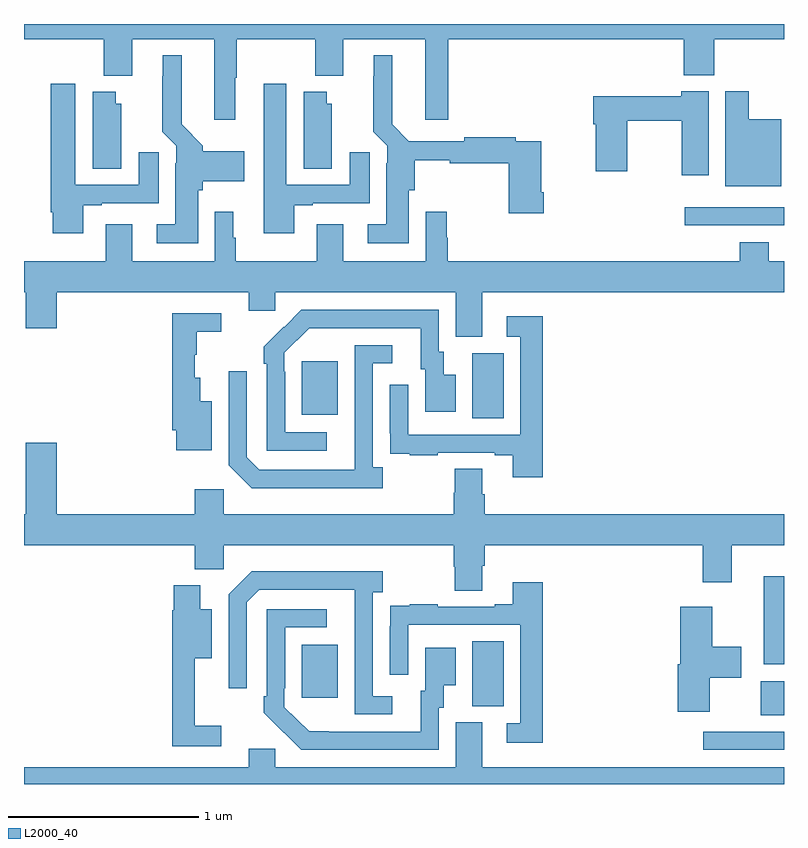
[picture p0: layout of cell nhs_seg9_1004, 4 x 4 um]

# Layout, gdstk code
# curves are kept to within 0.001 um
import gdstk
lib = gdstk.Library(unit=1e-6, precision=1e-09)
def R(c, l, rs):  # rectangles x0, y0, x1, y1
    for r in rs: c.add(gdstk.rectangle(r[:2], r[2:], *l))
def P(c, l, *ps):  # polygons
    for p in ps: c.add(gdstk.Polygon(p, *l))
L2000_40 = (2000, 40)

nhs_seg9_1004 = lib.new_cell('nhs_seg9_1004')
R(nhs_seg9_1004, L2000_40, [(168.576,1192.68,169,1192.776), (168.878,1192.861,169,1193.04), (167.36,1192.909,167.524,1193.252), (166.463,1192.953,166.651,1193.233), (168.893,1193.129,169,1193.593), (167.36,1194.424,167.524,1194.768), (166.463,1194.443,166.651,1194.724), (168.477,1195.44,169,1195.536)])
P(nhs_seg9_1004, L2000_40, [(166.111,1196.216),(166.119,1196.216),(166.119,1196.42),(166.534,1196.42),(166.534,1196.228),(166.681,1196.228),(166.681,1196.42),(167.111,1196.42),(167.111,1195.995),(167.234,1195.995),(167.234,1196.42),(168.473,1196.42),(168.473,1196.231),(168.633,1196.231),(168.633,1196.42),(169,1196.42),(169,1196.5),(165,1196.5),(165,1196.42),(165.419,1196.42),(165.419,1196.228),(165.571,1196.228),(165.571,1196.42),(166.001,1196.42),(166.001,1195.995),(166.111,1195.995)],
  [(165.916,1195.626),(165.942,1195.626),(165.942,1195.673),(166.159,1195.673),(166.159,1195.831),(165.942,1195.831),(165.942,1195.859),(165.829,1195.972),(165.829,1196.335),(165.731,1196.335),(165.731,1196.225),(165.727,1196.225),(165.727,1195.934),(165.801,1195.86),(165.801,1195.766),(165.797,1195.766),(165.797,1195.447),(165.699,1195.447),(165.699,1195.346),(165.916,1195.346)],
  [(167.026,1195.626),(167.057,1195.626),(167.057,1195.783),(167.24,1195.783),(167.24,1195.768),(167.552,1195.768),(167.552,1195.503),(167.735,1195.503),(167.735,1195.615),(167.722,1195.615),(167.722,1195.884),(167.588,1195.884),(167.588,1195.904),(167.317,1195.904),(167.317,1195.884),(167.026,1195.884),(166.939,1195.972),(166.939,1196.335),(166.841,1196.335),(166.841,1196.225),(166.837,1196.225),(166.837,1195.934),(166.911,1195.86),(166.911,1195.766),(166.907,1195.766),(166.907,1195.447),(166.809,1195.447),(166.809,1195.346),(167.026,1195.346)],
  [(166.423,1195.545),(166.519,1195.545),(166.519,1195.557),(166.819,1195.557),(166.819,1195.825),(166.715,1195.825),(166.715,1195.653),(166.381,1195.653),(166.381,1196.185),(166.262,1196.185),(166.262,1195.398),(166.423,1195.398)],
  [(165.313,1195.545),(165.409,1195.545),(165.409,1195.557),(165.709,1195.557),(165.709,1195.825),(165.605,1195.825),(165.605,1195.653),(165.271,1195.653),(165.271,1196.185),(165.14,1196.185),(165.14,1195.51),(165.152,1195.51),(165.152,1195.398),(165.313,1195.398)],
  [(168.604,1196.146),(168.458,1196.146),(168.458,1196.119),(167.996,1196.119),(167.996,1195.973),(168.008,1195.973),(168.008,1195.725),(168.174,1195.725),(168.174,1195.99),(168.463,1195.99),(168.463,1195.704),(168.604,1195.704)],
  [(168.985,1195.999),(168.814,1195.999),(168.814,1196.146),(168.692,1196.146),(168.692,1195.646),(168.985,1195.646)],
  [(166.621,1196.079),(166.594,1196.079),(166.594,1196.143),(166.472,1196.143),(166.472,1195.738),(166.621,1195.738)],
  [(165.511,1196.079),(165.484,1196.079),(165.484,1196.143),(165.362,1196.143),(165.362,1195.738),(165.511,1195.738)],
  [(167.413,1195.088),(169,1195.088),(169,1195.252),(168.919,1195.252),(168.919,1195.351),(168.767,1195.351),(168.767,1195.252),(167.231,1195.252),(167.231,1195.374),(167.224,1195.374),(167.224,1195.513),(167.115,1195.513),(167.115,1195.252),(166.681,1195.252),(166.681,1195.447),(166.541,1195.447),(166.541,1195.252),(166.114,1195.252),(166.114,1195.374),(166.102,1195.374),(166.102,1195.513),(166.005,1195.513),(166.005,1195.252),(165.571,1195.252),(165.571,1195.447),(165.431,1195.447),(165.431,1195.252),(165,1195.252),(165,1195.088),(165.008,1195.088),(165.008,1194.9),(165.172,1194.9),(165.172,1195.088),(166.184,1195.088),(166.184,1194.99),(166.323,1194.99),(166.323,1195.088),(167.273,1195.088),(167.273,1194.853),(167.413,1194.853)],
  [(166.594,1194.351),(166.374,1194.351),(166.374,1194.671),(166.371,1194.671),(166.371,1194.771),(166.5,1194.9),(167.087,1194.9),(167.087,1194.684),(167.111,1194.684),(167.111,1194.459),(167.272,1194.459),(167.272,1194.655),(167.209,1194.655),(167.209,1194.774),(167.184,1194.774),(167.184,1194.996),(166.46,1194.996),(166.263,1194.801),(166.263,1194.713),(166.278,1194.713),(166.278,1194.255),(166.594,1194.255)],
  [(165.988,1194.514),(165.928,1194.514),(165.928,1194.637),(165.899,1194.637),(165.899,1194.759),(165.91,1194.759),(165.91,1194.88),(166.039,1194.88),(166.039,1194.978),(165.781,1194.978),(165.781,1194.361),(165.8,1194.361),(165.8,1194.257),(165.988,1194.257)],
  [(167.729,1194.961),(167.541,1194.961),(167.541,1194.855),(167.613,1194.855),(167.613,1194.339),(167.022,1194.339),(167.022,1194.601),(166.926,1194.601),(166.926,1194.346),(166.927,1194.346),(166.927,1194.237),(167.029,1194.237),(167.029,1194.231),(167.177,1194.231),(167.177,1194.243),(167.477,1194.243),(167.477,1194.231),(167.573,1194.231),(167.573,1194.114),(167.729,1194.114)],
  [(166.888,1194.166),(166.836,1194.166),(166.836,1194.714),(166.939,1194.714),(166.939,1194.81),(166.74,1194.81),(166.74,1194.153),(166.239,1194.153),(166.173,1194.219),(166.173,1194.673),(166.077,1194.673),(166.077,1194.177),(166.198,1194.056),(166.888,1194.056)],
  [(167.413,1193.65),(167.426,1193.65),(167.426,1193.756),(168.572,1193.756),(168.572,1193.562),(168.724,1193.562),(168.724,1193.756),(169,1193.756),(169,1193.92),(167.426,1193.92),(167.426,1194.026),(167.413,1194.026),(167.413,1194.158),(167.266,1194.158),(167.266,1194.033),(167.261,1194.033),(167.261,1193.92),(166.05,1193.92),(166.05,1194.052),(165.899,1194.052),(165.899,1193.92),(165.172,1193.92),(165.172,1194.295),(165.008,1194.295),(165.008,1193.92),(165,1193.92),(165,1193.756),(165.899,1193.756),(165.899,1193.63),(166.05,1193.63),(166.05,1193.756),(167.261,1193.756),(167.261,1193.643),(167.266,1193.643),(167.266,1193.518),(167.413,1193.518)],
  [(166.939,1192.962),(166.836,1192.962),(166.836,1193.51),(166.888,1193.51),(166.888,1193.62),(166.198,1193.62),(166.077,1193.499),(166.077,1193.004),(166.173,1193.004),(166.173,1193.457),(166.239,1193.523),(166.74,1193.523),(166.74,1192.866),(166.939,1192.866)],
  [(167.729,1193.563),(167.573,1193.563),(167.573,1193.446),(167.477,1193.446),(167.477,1193.433),(167.177,1193.433),(167.177,1193.446),(167.029,1193.446),(167.029,1193.439),(166.927,1193.439),(166.927,1193.33),(166.926,1193.33),(166.926,1193.076),(167.022,1193.076),(167.022,1193.337),(167.613,1193.337),(167.613,1192.821),(167.541,1192.821),(167.541,1192.716),(167.729,1192.716)],
  [(166.039,1192.807),(165.899,1192.807),(165.899,1193.162),(165.988,1193.162),(165.988,1193.419),(165.928,1193.419),(165.928,1193.545),(165.788,1193.545),(165.788,1193.415),(165.781,1193.415),(165.781,1192.698),(166.039,1192.698)],
  [(168.61,1193.06),(168.775,1193.06),(168.775,1193.223),(168.622,1193.223),(168.622,1193.434),(168.455,1193.434),(168.455,1193.129),(168.44,1193.129),(168.44,1192.881),(168.61,1192.881)],
  [(167.184,1192.902),(167.209,1192.902),(167.209,1193.021),(167.272,1193.021),(167.272,1193.218),(167.111,1193.218),(167.111,1192.992),(167.087,1192.992),(167.087,1192.776),(166.5,1192.777),(166.371,1192.905),(166.371,1193.005),(166.374,1193.005),(166.374,1193.325),(166.594,1193.325),(166.594,1193.421),(166.278,1193.421),(166.278,1192.963),(166.263,1192.963),(166.263,1192.875),(166.46,1192.68),(167.184,1192.68)],
  [(167.413,1192.824),(167.273,1192.824),(167.273,1192.588),(166.323,1192.588),(166.323,1192.686),(166.184,1192.686),(166.184,1192.588),(165,1192.588),(165,1192.5),(169,1192.5),(169,1192.588),(167.413,1192.588)])

lib.write_gds('nhs_seg9_1004.gds')
